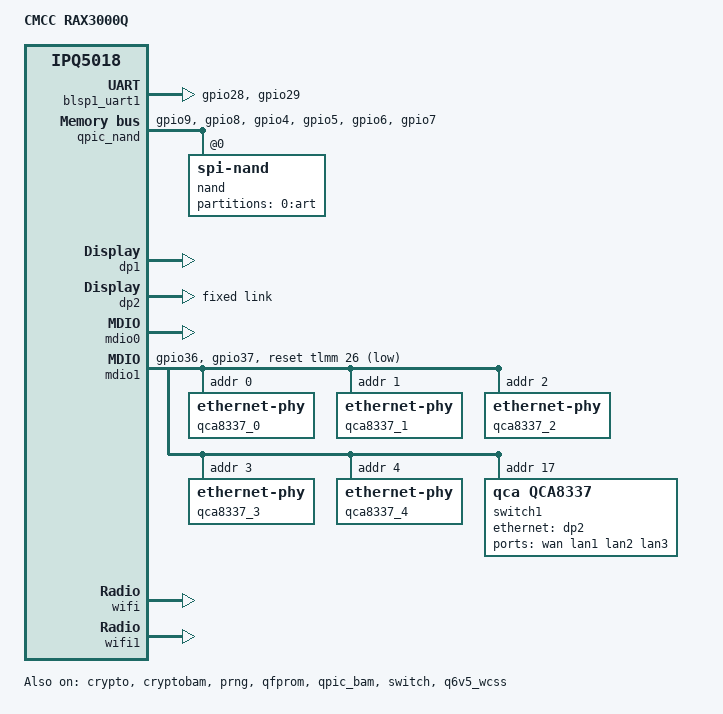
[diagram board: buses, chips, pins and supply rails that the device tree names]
// SPDX-License-Identifier: GPL-2.0-or-later OR MIT

/*
 * CMCC RAX3000Q / QY —— 6.12 主线 ath11k 板级（第 43 次新增，第 44 次按官方 DTS 校正）
 *
 * 骨架：qosmio/openwrt-ipq @ 25.12-nss 的 ipq5018-pz-l8.dts
 *       （只借 6.12 主线 ath11k/DSA 绑定：&wifi/&wifi1、
 *        qcom,ath11k-calibration-variant、QCA8337 `ports` 写法）
 *
 * ★ 第 44 次真值来源（用户上传 + 官方原文交叉核对）：
 *   A) docs/oem-dts/ipq5018-rax3000q.MAIN.dts
 *      —— openwrt/openwrt main 分支逐字节官方原文（6208 B，2026-09-27 合入
 *         "qualcommax: ipq50xx: add support for CMCC RAX3000Q/QY"）。
 *        实测 v25.12.6 稳定 tag 的 ipq50xx.mk 里【没有】RAX3000Q，
 *        qosmio 25.12-nss 整树也 0 命中，故本仓仍需注入板级。
 *   B) docs/oem-dts/ipq5018-rax3000q.dts —— 用户上传的网页还原稿（字段对照用）
 *   C) 第 41 次解包的 QSDK 12.2 好固件 FIT /images/fdt@1：
 *        model="CMCC RAX3000QY"  compatible="cmcc,rax3000qy" ...
 *        wifi board_id 0x24(2G)/0x60(5G)；caldb-addr=0
 *
 * 官方主线 DTS 的硬件真值（A，逐行核对）：
 *   model="CMCC RAX3000Q"  compatible="cmcc,rax3000q", "qcom,ipq5018"
 *   reset=GPIO23 低有效 / mesh-WPS=GPIO38 低有效
 *   LED 红24 / 绿19 / 蓝17（高有效）；QCA8337 复位 GPIO26
 *   闪存 GigaDevice GD5F1GQ5REYIG → 8bit/512（东芯 Dosilicon 变体不支持）
 *   QCA8337 reg 0x11(=17)：PHY0=WAN、PHY1=LAN1、PHY3=LAN2、PHY4=LAN3，
 *     port@0 = CPU(gmac1/SGMII)，gmac0/GE PHY 不参与
 *   ART 0x0=WAN / 0x6=LAN；原厂值为全 FF 时回退随机生成
 *   calibration-variant = "CMCC-RAX3000Q"
 *   因 256MiB 内存，官方把 q6v5_wcss / wifi / wifi1 全 disabled 防 OOM
 *
 * ⚠ 本文件【未在 6.12 主线实机验证】，三处刻意与官方不同：
 *   1) 【不定义 keys / leds】。恩山 2026-04-25 变砖实录：VS010 刷入 RAX3000Q
 *      的 U-Boot + 大分区后，因复位键 GPIO 不一致被持续采样为「按下」，
 *      循环重启、TTL 失联、最终需编程器。按键/LED 在两套栈里不等价，
 *      且不是哑 AP 的必要功能 → 宁可不定义，绝不猜 GPIO。
 *   2) 【WiFi 必须开】。官方 disabled 是怕 256M OOM，但 AP/网桥没无线就没意义。
 *      本仓已配 256M 低内存 profile；若 LuCI 操作仍 OOM，社区做法是
 *      ath11k-smallbuffers + zram（报告建议，未在 VS010/RAX3000Q 实测）。
 *   3) 【不抄 boot-args】。官方 main 的 &q6v5_wcss 用
 *      boot-args = <0x2 4 2 27 0 0>（PCIE1 / PD id 2）让 QCN6102 落 UPD ID 2；
 *      用户还原稿误写成 <0x02000000>。qosmio 25.12-nss 整树无任何 boot-args
 *      用法（绑定不同），抄进去会被忽略甚至报错 → 只在文档记录，
 *      若实机 5G 报 "expect it to be on UPD ID 3" 再按本树绑定另找方案。
 *
 * 绑定差异（重要）：官方 main 用 `qcom,calibration-variant` + `ethernet-ports`；
 *   qosmio 25.12-nss 用 `qcom,ath11k-calibration-variant` + `ports`。
 *   本文件按【目标树】写，不能整份照抄官方 DTS。
 *
 * ART 头是全 FF（见 art/art-truth.conf），DTS【不引用 nvmem macaddr】，
 * MAC 请按机身标签用 uci 固化；art-check 会提示。WAN+LAN 全在 br-lan。
 *
 * 首次刷机务必接 3.3V USB-TTL；若双频/网口异常，先用 device=vs010 单编验证。
 */

/dts-v1/;

#include "ipq5018.dtsi"
#include "ipq5018-ess.dtsi"
#include "ipq5018-qcn6122.dtsi"

#include <dt-bindings/gpio/gpio.h>
#include <dt-bindings/input/input.h>
#include <dt-bindings/leds/common.h>

/ {
	model = "CMCC RAX3000Q";
	/* 两个 compatible 都写：官方主线是 cmcc,rax3000q，
	 * 用户手上 QSDK 12.2 好固件 FDT 是 cmcc,rax3000qy（QY 变体），
	 * 末项 qcom,ipq5018 供通用匹配；02_network 两个分支都已注入。 */
	compatible = "cmcc,rax3000q", "cmcc,rax3000qy", "qcom,ipq5018";

	aliases {
		serial0 = &blsp1_uart1;
		/* 官方 3000Q 只用 gmac1(=本树 &dp2) 单链路，gmac0/GE PHY 不参与 */
		label-mac-device = <&dp2>;
	};

	chosen {
		bootargs-append = " root=/dev/ubiblock0_1 swiotlb=1 coherent_pool=2M";
		stdout-path = "serial0:115200n8";
	};

};

&sleep_clk {
	clock-frequency = <32000>;
};

&xo_board_clk {
	clock-div = <4>;
	clock-mult = <1>;
};

&blsp1_uart1 {
	status = "okay";

	pinctrl-0 = <&serial_0_pins>;
	pinctrl-names = "default";
};

&crypto {
	status = "okay";
};

&cryptobam {
	status = "okay";
};

&prng {
	status = "okay";
};

&qfprom {
	status = "okay";
};

&qpic_bam {
	status = "okay";
};

&qpic_nand {
	pinctrl-0 = <&qpic_pins>;
	pinctrl-names = "default";
	status = "okay";

	nand@0 {
		compatible = "spi-nand";
		reg = <0>;
		nand-ecc-engine = <&qpic_nand>;
		/* 官方 main DTS 实证：GigaDevice GD5F1GQ5REYIG → 8bit/512。
		 * 注意与 VS010 的 4bit/512 不同（两台闪存型号不同，按机型分别修）。
		 * 若板子是东芯 Dosilicon 变体、dmesg 报 unknown flash / EUCLEAN，
		 * 删掉这两行重编，让驱动自行协商。 */
		nand-ecc-strength = <8>;
		nand-ecc-step-size = <512>;
		nand-bus-width = <8>;

		partitions {
			compatible = "qcom,smem-part";

			partition-art {
				label = "0:art";
				read-only;

				nvmem-layout {
					compatible = "fixed-layout";
					#address-cells = <1>;
					#size-cells = <1>;

					hw_mac_addr: mac-address@0 {
						compatible = "mac-base";
						reg = <0x0 0x6>;
						#nvmem-cell-cells = <1>;
					};
				};
			};
		};
	};
};

/*
 * 以下 ESS / dp1 / ge_phy / mdio0 骨架沿用 PZ-L8，目的是【保证 qosmio 25.12-nss
 * 树能编译】（ipq5018-ess.dtsi 的 &switch.port_phyinfo 依赖 mdio0 的 phy_address 7）。
 * 官方 3000Q 实际上只启用 gmac1(=&dp2) 单条 SGMII 链路、gmac0/GE PHY 不参与，
 * 所以 QCA8337 的 CPU 口只有上面的 port@0，port@5 不再挂 &dp1。
 * 若实机 dmesg 出现 mdio0 / GE PHY 探针异常，再考虑把 &dp1 / &ge_phy /
 * &mdio0 的 status 改成 disabled（属板级调优，不影响本仓最稳默认值）。
 */
&switch {
	status = "okay";

	switch_mac_mode = <MAC_MODE_SGMII_CHANNEL0>;

	qcom,port_phyinfo {
		// MAC0 -> GE Phy --- MDI --- QCA8337 Phy4(Port5)
		port@0 {
			port_id = <1>;
			mdiobus = <&mdio0>;
			phy_address = <7>;
		};

		// MAC1 -> Uniphy --- SGMII --- QCA8337 SerDes(Port6)
		port@1 {
			port_id = <2>;
			mdiobus = <&mdio1>;
			forced-speed = <1000>;
			forced-duplex = <1>;
		};
	};
};

// MAC0 -> GE Phy
&dp1 {
	status = "okay";
};

// MAC1 -> SGMII
&dp2 {
	status = "okay";

	fixed-link {
		speed = <1000>;
		full-duplex;
	};
};

&mdio0 {
	status = "okay";
};

// MAC0 -> GE Phy -> QCA8337 Phy4
&ge_phy {
	qcom,dac-preset-short-cable;
};

&mdio1 {
	status = "okay";

	pinctrl-0 = <&mdio1_pins>;
	pinctrl-names = "default";
	reset-gpios = <&tlmm 26 GPIO_ACTIVE_LOW>;

	/* 官方 RAX3000Q 映射（第 44 次校正；旧版抄 PZ-L8 的 PHY3=WAN 是错的） */
	// QCA8337 Phy0 -> WAN
	qca8337_0: ethernet-phy@0 {
		reg = <0>;
	};

	// QCA8337 Phy1 -> LAN1
	qca8337_1: ethernet-phy@1 {
		reg = <1>;
	};

	// QCA8337 Phy2 -> 未使用（官方 3000Q 只有 4 个物理口）
	qca8337_2: ethernet-phy@2 {
		reg = <2>;
	};

	// QCA8337 Phy3 -> LAN2
	qca8337_3: ethernet-phy@3 {
		reg = <3>;
	};

	// QCA8337 Phy4 -> LAN3（官方 3000Q：不接 GE PHY / gmac0）
	qca8337_4: ethernet-phy@4 {
		reg = <4>;
	};

	// QCA8337 switch
	switch1: ethernet-switch@17 {
		compatible = "qca,qca8337";
		reg = <17>;
		#address-cells = <1>;
		#size-cells = <0>;

		/* 官方 main ipq5018-rax3000q.dts 的端口映射，按本树 `ports` 绑定改写
		 * （官方写的是 `ethernet-ports` / `ethernet = <&gmac1>`，本树是
		 *  `ports` / `ethernet = <&dp2>`，数值一致：reg 0x11 = 十进制 17）。
		 * 与 PZ-L8 的关键差异：WAN 是 PHY0 而非 PHY3；只启用单条 SGMII
		 * CPU 链路（port@0），gmac0/GE PHY 不作为 CPU 口。 */
		ports {
			#address-cells = <1>;
			#size-cells = <0>;

			/* port@0 = CPU 口（gmac1 / SGMII / 1000M 固定链路） */
			port@0 {
				reg = <0>;
				phy-mode = "sgmii";
				ethernet = <&dp2>;
				qca,sgmii-enable-pll;

				fixed-link {
					speed = <1000>;
					full-duplex;
				};
			};

			port@1 {
				reg = <1>;
				label = "wan";
				phy-handle = <&qca8337_0>;
			};

			port@2 {
				reg = <2>;
				label = "lan1";
				phy-handle = <&qca8337_1>;
			};

			port@4 {
				reg = <4>;
				label = "lan2";
				phy-handle = <&qca8337_3>;
			};

			port@5 {
				reg = <5>;
				label = "lan3";
				phy-handle = <&qca8337_4>;
			};
		};
	};
};

&tlmm {

	mdio1_pins: mdio-state {
		mdc-pins {
			pins = "gpio36";
			function = "mdc";
			drive-strength = <8>;
			bias-pull-up;
		};

		mdio-pins {
			pins = "gpio37";
			function = "mdio";
			drive-strength = <8>;
			bias-pull-up;
		};
	};

	qpic_pins: qpic-state {
		clock-pins {
			pins = "gpio9";
			function = "qspi_clk";
			drive-strength = <8>;
			bias-disable;
		};

		cs-pins {
			pins = "gpio8";
			function = "qspi_cs";
			drive-strength = <8>;
			bias-disable;
		};

		data-pins {
			pins = "gpio4", "gpio5", "gpio6", "gpio7";
			function = "qspi_data";
			drive-strength = <8>;
			bias-disable;
		};
	};

	serial_0_pins: uart0-state {
		pins = "gpio28", "gpio29";
		function = "blsp0_uart1";
		drive-strength = <8>;
		bias-disable;
	};

	switch_reset_pins: switch-reset-state {
		pins = "gpio26";
		function = "gpio";
		drive-strength = <8>;
		bias-pull-down;
	};
};

/* 官方 main 用 boot-args=<0x2 4 2 27 0 0> 指定 QCN6102 落 UPD ID 2；
 * 本树（qosmio 25.12-nss）没有任何 boot-args 用法，绑定不同 → 不抄。
 * 若实机 5G 报 UPD ID 3，见 docs/板级真值-第44次.md 的排查项。 */
&q6v5_wcss {
	status = "okay";
};

&wifi {
	// IPQ5018
	qcom,rproc = <&q6_wcss_pd1>;
	qcom,ath11k-calibration-variant = "CMCC-RAX3000Q";
	qcom,ath11k-fw-memory-mode = <1>;
	qcom,bdf-addr = <0x4c400000>;

	ieee80211-freq-limit = <2400000 2483000>;

	status = "okay";
};

&wifi1 {
	// QCN6102 5G
	qcom,rproc = <&q6_wcss_pd2>;
	qcom,userpd-subsys-name = "q6v5_wcss_userpd2";
	qcom,ath11k-calibration-variant = "CMCC-RAX3000Q";
	qcom,ath11k-fw-memory-mode = <1>;
	qcom,bdf-addr = <0x4d100000>;
	qcom,m3-dump-addr = <0x4df00000>;

	ieee80211-freq-limit = <5150000 5730000>;

	status = "okay";
};
